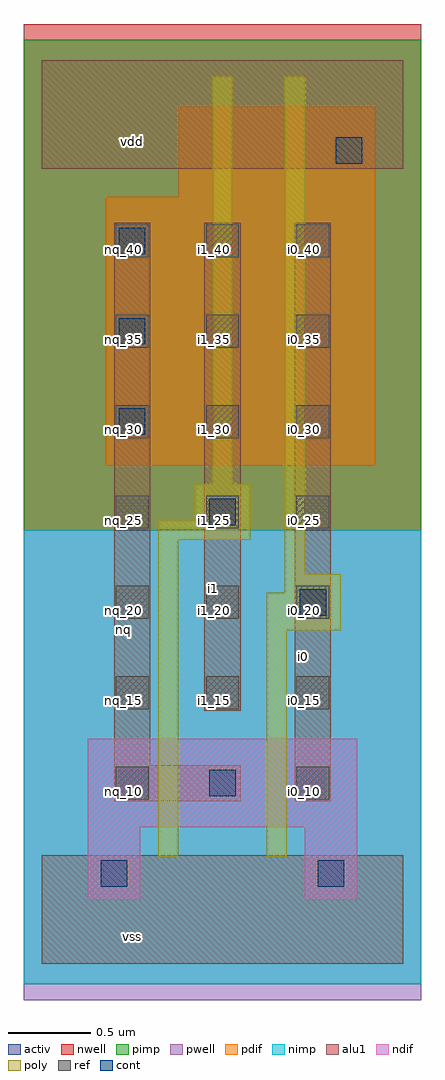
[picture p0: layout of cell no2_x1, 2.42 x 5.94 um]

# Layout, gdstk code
import gdstk
lib = gdstk.Library(unit=1e-6, precision=2.5e-09)
def R(c, l, rs):  # rectangles x0, y0, x1, y1
    for r in rs: c.add(gdstk.rectangle(r[:2], r[2:], *l))
def A(c, l, x, y, w, h, nx, ny, dx, dy):  # array of equal rectangles
    R(c, l, [(x+i*dx, y+j*dy, x+i*dx+w, y+j*dy+h) for i in range(nx) for j in range(ny)])
ndif = (3, 0)
pdif = (4, 0)
ref = (24, 0)
cont = (25, 0)
pwell = (41, 0)
nwell = (42, 0)
activ = (43, 0)
pimp = (44, 0)
nimp = (45, 0)
poly = (46, 0)
alu1 = (49, 0)

no2_x1 = lib.new_cell('no2_x1')
R(no2_x1, ndif, [(0.28,0.39,0.6,0.83), (0.28,0.39,0.6,0.83), (1.6,0.39,1.92,0.83), (1.6,0.39,1.92,0.83), (0.28,0.83,1.92,1.37), (0.28,0.83,1.92,1.37)])
R(no2_x1, pdif, [(0.39,3.03,2.03,4.67), (0.39,3.03,2.03,4.67), (0.83,4.67,2.03,5.22), (0.83,4.67,2.03,5.22)])
A(no2_x1, ref, 0.45, 1.55, 0.2, 0.2, 3, 6, 0.55, 0.55)
R(no2_x1, ref, [(0.45,1,0.65,1.2), (1.55,1,1.75,1.2)])
A(no2_x1, cont, 0.47, 3.22, 0.16, 0.16, 1, 3, 0, 0.55)
R(no2_x1, cont, [(0.36,0.47,0.52,0.63), (1.68,0.47,1.84,0.63), (1.02,1.02,1.18,1.18), (1.57,2.12,1.73,2.28), (1.02,2.67,1.18,2.83), (1.79,4.87,1.95,5.03)])
R(no2_x1, pwell, [(-0.11,-0.22,2.31,2.64)])
R(no2_x1, nwell, [(-0.11,2.64,2.31,5.72)])
R(no2_x1, activ, [(0.28,0.39,0.6,0.83), (0.28,0.39,0.6,0.83), (1.6,0.39,1.92,0.83), (1.6,0.39,1.92,0.83), (0.28,0.83,1.92,1.37), (0.28,0.83,1.92,1.37), (0.39,3.03,2.03,4.67), (0.39,3.03,2.03,4.67), (0.83,4.67,2.03,5.22), (0.83,4.67,2.03,5.22)])
R(no2_x1, pimp, [(-0.11,2.64,2.31,5.625)])
R(no2_x1, nimp, [(-0.11,-0.125,2.31,2.64)])
R(no2_x1, poly, [(0.71,0.65,0.83,2.58), (1.37,0.65,1.49,2.03), (1.37,2.03,1.82,2.26), (1.48,2.26,1.82,2.37), (1.48,2.37,1.6,5.4), (0.71,2.58,1.27,2.7), (0.93,2.7,1.27,2.92), (1.04,2.92,1.16,5.4)])
R(no2_x1, alu1, [(0,0,2.2,0.66), (0.44,0.99,1.21,1.21), (1.54,0.99,1.76,4.51), (0.44,1.21,0.66,4.51), (0.99,1.54,1.21,4.51), (0,4.84,2.2,5.5)])
no2_x1.add(gdstk.Label('vss', (0.55,0.165), layer=49, texttype=0))
no2_x1.add(gdstk.Label('i0', (1.595,1.87), layer=49, texttype=0))
no2_x1.add(gdstk.Label('i1', (1.045,2.2825), layer=49, texttype=0))
no2_x1.add(gdstk.Label('nq', (0.495,2.035), layer=49, texttype=0))
no2_x1.add(gdstk.Label('vdd', (0.55,5.005), layer=49, texttype=0))
no2_x1.add(gdstk.Label('i0_40', (1.6,4.35), layer=24, texttype=0))
no2_x1.add(gdstk.Label('i0_35', (1.6,3.8), layer=24, texttype=0))
no2_x1.add(gdstk.Label('i0_30', (1.6,3.25), layer=24, texttype=0))
no2_x1.add(gdstk.Label('i0_25', (1.6,2.7), layer=24, texttype=0))
no2_x1.add(gdstk.Label('i0_20', (1.6,2.15), layer=24, texttype=0))
no2_x1.add(gdstk.Label('i0_15', (1.6,1.6), layer=24, texttype=0))
no2_x1.add(gdstk.Label('i1_15', (1.05,1.6), layer=24, texttype=0))
no2_x1.add(gdstk.Label('i1_20', (1.05,2.15), layer=24, texttype=0))
no2_x1.add(gdstk.Label('i1_25', (1.05,2.7), layer=24, texttype=0))
no2_x1.add(gdstk.Label('i1_30', (1.05,3.25), layer=24, texttype=0))
no2_x1.add(gdstk.Label('i1_35', (1.05,3.8), layer=24, texttype=0))
no2_x1.add(gdstk.Label('i1_40', (1.05,4.35), layer=24, texttype=0))
no2_x1.add(gdstk.Label('nq_15', (0.5,1.6), layer=24, texttype=0))
no2_x1.add(gdstk.Label('nq_20', (0.5,2.15), layer=24, texttype=0))
no2_x1.add(gdstk.Label('nq_25', (0.5,2.7), layer=24, texttype=0))
no2_x1.add(gdstk.Label('nq_30', (0.5,3.25), layer=24, texttype=0))
no2_x1.add(gdstk.Label('nq_35', (0.5,3.8), layer=24, texttype=0))
no2_x1.add(gdstk.Label('nq_40', (0.5,4.35), layer=24, texttype=0))
no2_x1.add(gdstk.Label('nq_10', (0.5,1.05), layer=24, texttype=0))
no2_x1.add(gdstk.Label('i0_10', (1.6,1.05), layer=24, texttype=0))

lib.write_gds('no2_x1.gds')
